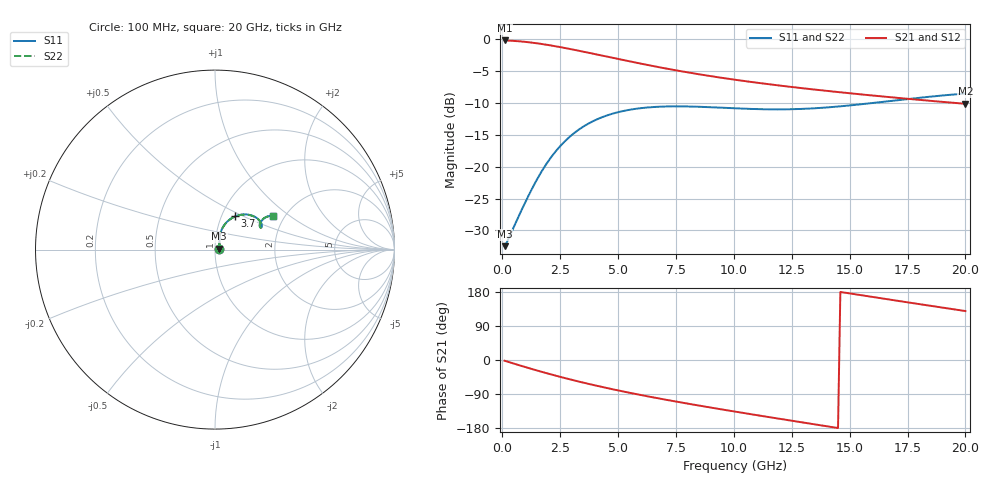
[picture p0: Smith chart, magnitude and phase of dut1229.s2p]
! Touchstone file exported from HFSS 2024.1.0
!  File:  C:/UserFiles/LocalFiles/RDL_TSV_Batchsim/temp_RDL_TSV_1229_1780263992.aedt
!  Generated:  06:04:25 AM Jun  1, 2026
!  Design:  RDL_TSV
!  Project:  temp_RDL_TSV_1229_1780263992
!  Setup:  Setup1
!  Solution:  Sweep
! Variables:
!  dtsv = 9.64um
!  hbump = 3um
!  htsv = 79.63um
!  ldown = 422.76um
!  lrdl = 498.16um
!  p = 40
!  p1 = 41.94um
!  rhole = 10um
!  subl = 3260.92um
!  t = 450um
!  tdown = 3.56um
!  trdl = 3.59um
!  viad = 10um
!  wdown = 13.39um
!  wrdl = 14.34um
!  xbump = 18um
# GHz S MA R 50.000000
! Terminal data exported
! Port[1] = TM1_1_T1
! Port[2] = TM1_4_T1
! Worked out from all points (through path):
!   200 points, 100 MHz to 20 GHz, reference 50 ohm
!   highest |S21| = -0.21 dB at 100 MHz (marker M1); lowest = -10.1 dB at 20 GHz (marker M2)
!   group delay of S21, straight-line fit = 30.3 ps
!   lowest |S11| = -32.5 dB at 100 MHz (marker M3), VSWR 1.05, Z = 52.4 + j0.527 ohm
!   |S11| at or under -10 dB: start of sweep to 16.02 GHz
!   |S22| runs from -32.5 to -8.5 dB; largest |S21 - S12| = 3.4e-14
!   S11 on the Smith chart (normalised r, x): 100 MHz: 1.05, +0.01; 3.7 GHz: 1.16, +0.45; 20 GHz: 1.75, +0.76
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0.1  0.02382 12.2  0.9764 -1.9  0.9764 -1.9  0.02382 12.2
! Gamma 0 0 0 0
! Port Impedance 50 0 50 0
0.5  0.03394 43.3  0.9689 -9.6  0.9689 -9.6  0.03394 43.3
0.9  0.04851 59.6  0.9559 -17.0  0.9559 -17.0  0.04852 59.5
1.4  0.07372 69.6  0.933 -26.0  0.933 -26.0  0.07371 69.5
1.9  0.1048 71.9  0.9046 -34.6  0.9046 -34.6  0.1048 71.8
2.3  0.1316 70.6  0.8793 -41.2  0.8793 -41.2  0.1315 70.6
2.7  0.1581 67.9  0.8526 -47.6  0.8526 -47.6  0.158 67.8
3.5  0.2062 60.7  0.7976 -59.8  0.7976 -59.8  0.206 60.6
3.7  0.2167 58.7  0.7839 -62.7  0.7839 -62.7  0.2164 58.6
4.4  0.2478 52.1  0.737 -72.4  0.737 -72.4  0.2474 52.0
5.2  0.2728 45.1  0.6869 -82.8  0.6869 -82.8  0.2722 45.0
6  0.2879 39.2  0.6415 -92.6  0.6415 -92.6  0.2873 39.1
6.8  0.2954 34.4  0.601 -101.9  0.601 -101.9  0.2946 34.3
7.6  0.2972 30.7  0.5652 -110.7  0.5652 -110.7  0.2963 30.6
8.4  0.2953 28.0  0.5338 -119.3  0.5338 -119.3  0.2944 27.9
10.1  0.2866 25.5  0.479 -136.7  0.479 -136.7  0.2856 25.5
11.7  0.2814 26.5  0.4387 -152.5  0.4387 -152.5  0.2804 26.5
13.4  0.2864 29.2  0.404 -169.0  0.404 -169.0  0.2855 29.2
15  0.3021 31.5  0.3765 175.7  0.3765 175.7  0.3013 31.6
16.7  0.3265 32.5  0.3513 159.7  0.3513 159.7  0.3259 32.6
18.4  0.3528 31.8  0.3294 143.8  0.3294 143.8  0.3524 31.9
20  0.3748 30.1  0.3112 129.2  0.3112 129.2  0.3745 30.1
